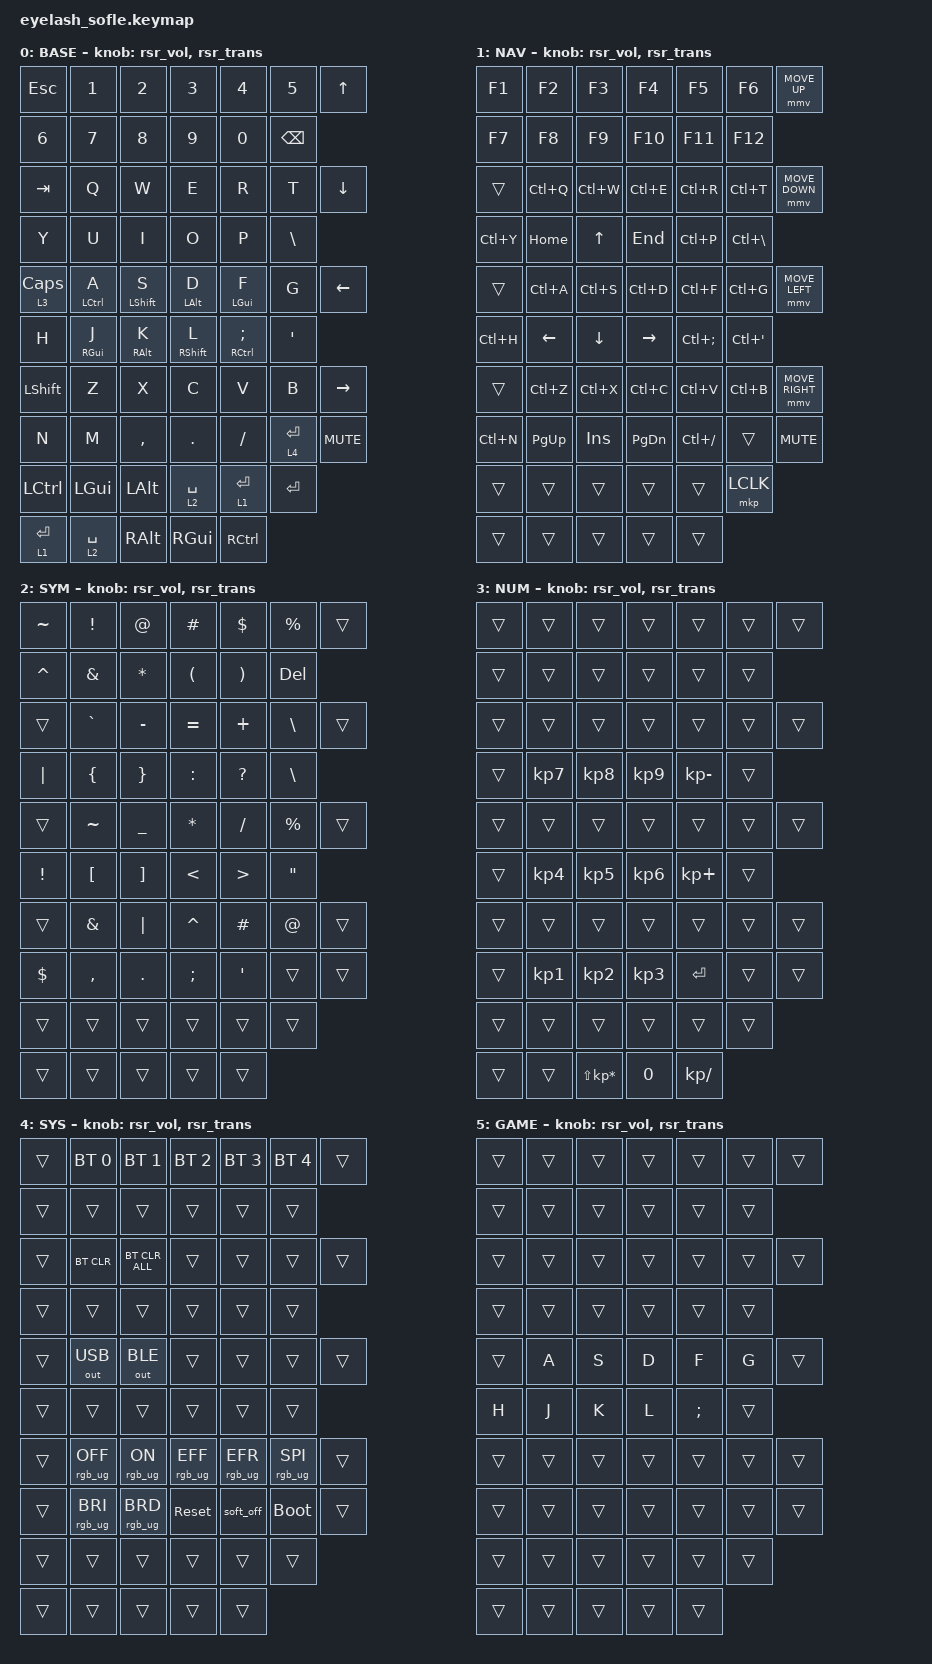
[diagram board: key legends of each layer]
#define ZMK_POINTING_DEFAULT_MOVE_VAL 1200  // 600
#define ZMK_POINTING_DEFAULT_SCRL_VAL 25   // 10

#include <input/processors.dtsi>
#include <zephyr/dt-bindings/input/input-event-codes.h>
#include <behaviors.dtsi>
#include <behaviors/runtime-sensor-rotate.dtsi>
#include <dt-bindings/zmk/bt.h>
#include <dt-bindings/zmk/keys.h>
#include <dt-bindings/zmk/outputs.h>
#include <dt-bindings/zmk/pointing.h>
#include <dt-bindings/zmk/rgb.h>

&mmv_input_listener { input-processors = <&zip_xy_scaler 2 1>; };

&msc_input_listener { input-processors = <&zip_scroll_scaler 2 1>; };

&msc {
    acceleration-exponent = <1>;      // 0
    time-to-max-speed-ms = <100>;       // 300
    delay-ms = <0>;                   // 0
};

&mmv {
    time-to-max-speed-ms = <500>;
    acceleration-exponent = <1>;
    trigger-period-ms = <16>;
};

&soft_off { hold-time-ms = <2000>; };

&mt {
    flavor = "balanced";
    require-prior-idle-ms = <150>;
};

/ {
    scroll_encoder: scroll_encoder {
        compatible = "zmk,behavior-sensor-rotate";
        #sensor-binding-cells = <0>;
        bindings = <&msc SCRL_DOWN>, <&msc SCRL_UP>;

        tap-ms = <100>;
    };

    behaviors {
        rsr_vol: rsr_vol {
            compatible = "zmk,behavior-runtime-sensor-rotate";
            #sensor-binding-cells = <0>;
            tap-ms = <5>;
            cw-binding = <&kp C_VOL_UP>;
            ccw-binding = <&kp C_VOL_DN>;
        };

        rsr_lr: rsr_lr {
            compatible = "zmk,behavior-runtime-sensor-rotate";
            #sensor-binding-cells = <0>;
            tap-ms = <5>;
            cw-binding = <&kp RIGHT>;
            ccw-binding = <&kp LEFT>;
        };

        rsr_trans: rsr_trans {
            compatible = "zmk,behavior-runtime-sensor-rotate";
            #sensor-binding-cells = <0>;
            tap-ms = <0>;
        };
    };

    combos {
        compatible = "zmk,combos";

        softoff {
            bindings = <&soft_off>;
            key-positions = <14 28 40>;
        };

        game {
            bindings = <&tog 5>;
            key-positions = <0 12>;
        };
    };

    macros {
        SHIFT_MCLK: SHIFT_MCLK {
            compatible = "zmk,behavior-macro";
            #binding-cells = <0>;
            bindings =
                <&macro_press>,
                <&kp LEFT_SHIFT>,
                <&macro_press>,
                <&mkp MB3>,
                <&macro_pause_for_release>,
                <&macro_release>,
                <&kp LEFT_SHIFT &mkp MB3>;

            label = "SHIFT_MCLK";
        };
    };

    keymap {
        compatible = "zmk,keymap";

// Key binding structure: 
// L6 + JoyUp + R6
// L6 + JoyDown + R6
// L6 + JoyLeft + R6
// L6 + JoyRight + R6 + ScrollPress
// L5 + JoyPress + R5

        base {
            bindings = <
&kp ESC             &kp N1              &kp N2              &kp N3              &kp N4              &kp N5              &kp UP_ARROW
&kp N6              &kp N7              &kp N8              &kp N9              &kp N0              &kp BACKSPACE

&kp TAB             &kp Q               &kp W               &kp E               &kp R               &kp T               &kp DOWN_ARROW
&kp Y               &kp U               &kp I               &kp O               &kp P               &kp BSLH

&lt 3 CAPS          &mt LCTL A          &mt LSHFT S         &mt LALT D          &mt LGUI F          &kp G               &kp LEFT_ARROW
&kp H               &mt RGUI J          &mt RALT K          &mt RSHFT L         &mt RCTL SEMI       &kp APOS

&kp LSHFT           &kp Z               &kp X               &kp C               &kp V               &kp B               &kp RIGHT_ARROW
&kp N               &kp M               &kp COMMA           &kp DOT             &kp FSLH            &lt 4 ENTER           &kp C_MUTE

&kp LCTRL           &kp LEFT_GUI        &kp LALT          &lt 2 SPACE         &lt 1 ENTER         &kp ENTER
&lt 1 ENTER         &lt 2 SPACE         &kp RIGHT_ALT       &kp RIGHT_GUI       &kp RIGHT_CONTROL
            >;

            sensor-bindings = <&rsr_vol &rsr_trans>;
            display-name = "BASE";
        };

        nav {
            bindings = <
&kp F1              &kp F2              &kp F3              &kp F4              &kp F5              &kp F6              &mmv MOVE_UP
&kp F7              &kp F8              &kp F9              &kp F10             &kp F11             &kp F12

&trans              &kp LC(Q)           &kp LC(W)           &kp LC(E)           &kp LC(R)           &kp LC(T)           &mmv MOVE_DOWN
&kp LC(Y)           &kp HOME            &kp UP              &kp END             &kp LC(P)           &kp LC(BSLH)

&trans              &kp LC(A)           &kp LC(S)           &kp LC(D)           &kp LC(F)           &kp LC(G)           &mmv MOVE_LEFT
&kp LC(H)           &kp LEFT            &kp DOWN            &kp RIGHT           &kp LC(SEMI)        &kp LC(APOS)

&trans              &kp LC(Z)           &kp LC(X)           &kp LC(C)           &kp LC(V)           &kp LC(B)           &mmv MOVE_RIGHT
&kp LC(N)           &kp PG_UP           &kp INSERT          &kp PG_DN           &kp LC(FSLH)        &trans              &kp C_MUTE

&trans              &trans              &trans              &trans              &trans              &mkp LCLK
&trans              &trans              &trans              &trans              &trans
            >;

            sensor-bindings = <&rsr_vol &rsr_trans>;
            display-name = "NAV";
        };

        sym {
            bindings = <
&kp TILDE           &kp EXCL            &kp AT              &kp HASH            &kp DLLR            &kp PRCNT           &trans
&kp CARET           &kp AMPS            &kp ASTRK           &kp LPAR            &kp RPAR            &kp DEL

&trans              &kp GRAVE           &kp MINUS           &kp EQUAL           &kp PLUS            &kp BSLH            &trans
&kp PIPE            &kp LBRC            &kp RBRC            &kp COLON           &kp QUESTION        &kp BSLH

&trans              &kp TILDE           &kp UNDERSCORE      &kp ASTERISK        &kp SLASH           &kp PERCENT         &trans
&kp EXCL            &kp LEFT_BRACKET    &kp RIGHT_BRACKET   &kp LESS_THAN       &kp GREATER_THAN    &kp DOUBLE_QUOTES

&trans              &kp AMPS            &kp PIPE            &kp CARET           &kp HASH            &kp AT              &trans
&kp DOLLAR          &kp COMMA           &kp DOT             &kp SEMI            &kp APOS            &trans              &trans

&trans              &trans              &trans              &trans              &trans              &trans
&trans              &trans              &trans              &trans              &trans
            >;
            display-name = "SYM";
            sensor-bindings = <&rsr_vol &rsr_trans>;
        };

        num {
            bindings = <
&trans              &trans              &trans              &trans              &trans              &trans              &trans
&trans              &trans              &trans              &trans              &trans              &trans

&trans              &trans              &trans              &trans              &trans              &trans              &trans
&trans              &kp KP_N7           &kp KP_N8           &kp KP_N9           &kp KP_MINUS        &trans

&trans              &trans              &trans              &trans              &trans              &trans              &trans
&trans              &kp KP_N4           &kp KP_N5           &kp KP_N6           &kp KP_PLUS         &trans

&trans              &trans              &trans              &trans              &trans              &trans              &trans
&trans              &kp KP_N1           &kp KP_N2           &kp KP_N3           &kp RET             &trans              &trans

&trans              &trans              &trans              &trans              &trans              &trans
&trans              &trans              &kp LS(KP_ASTERISK) &kp N0              &kp KP_SLASH
            >;

            display-name = "NUM";
            sensor-bindings = <&rsr_vol &rsr_trans>;
        };

        sys {
            bindings = <
&trans              &bt BT_SEL 0        &bt BT_SEL 1        &bt BT_SEL 2        &bt BT_SEL 3        &bt BT_SEL 4        &trans
&trans              &trans              &trans              &trans              &trans              &trans

&trans              &bt BT_CLR          &bt BT_CLR_ALL      &trans              &trans              &trans              &trans
&trans              &trans              &trans              &trans              &trans              &trans

&trans              &out OUT_USB        &out OUT_BLE        &trans              &trans              &trans              &trans
&trans              &trans              &trans              &trans              &trans              &trans

&trans              &rgb_ug RGB_OFF     &rgb_ug RGB_ON      &rgb_ug RGB_EFF     &rgb_ug RGB_EFR     &rgb_ug RGB_SPI     &trans
&trans              &rgb_ug RGB_BRI     &rgb_ug RGB_BRD     &sys_reset          &soft_off           &bootloader         &trans

&trans              &trans              &trans              &trans              &trans              &trans
&trans              &trans              &trans              &trans              &trans
            >;

            display-name = "SYS";
            sensor-bindings = <&rsr_vol &rsr_trans>;
        };

        game {
            bindings = <
&trans              &trans              &trans              &trans              &trans              &trans              &trans
&trans              &trans              &trans              &trans              &trans              &trans

&trans              &trans              &trans              &trans              &trans              &trans              &trans
&trans              &trans              &trans              &trans              &trans              &trans

&trans              &kp A               &kp S               &kp D               &kp F               &kp G               &trans
&kp H               &kp J               &kp K               &kp L               &kp SEMI            &trans

&trans              &trans              &trans              &trans              &trans              &trans              &trans
&trans              &trans              &trans              &trans              &trans              &trans              &trans

&trans              &trans              &trans              &trans              &trans              &trans
&trans              &trans              &trans              &trans              &trans
            >;

            display-name = "GAME";
            sensor-bindings = <&rsr_vol &rsr_trans>;
        };
    };
};
